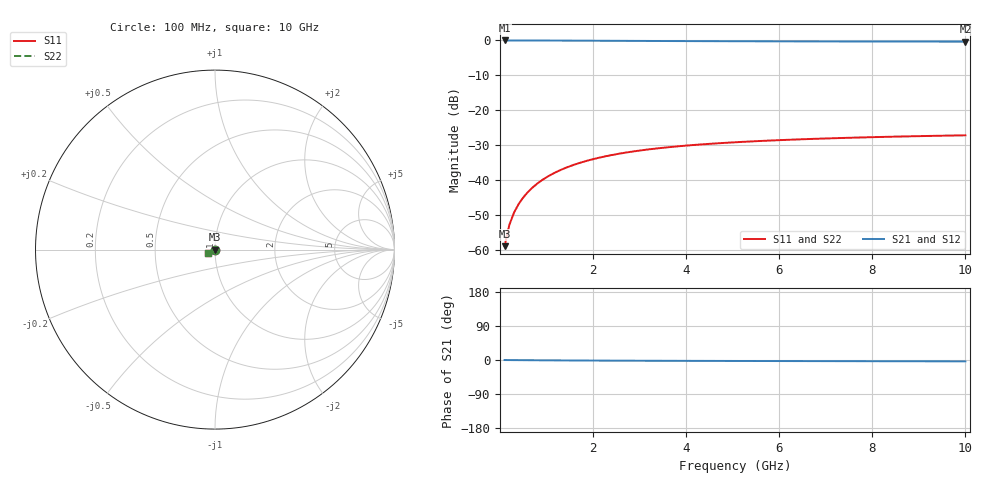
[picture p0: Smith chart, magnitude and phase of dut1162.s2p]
! Touchstone file exported from HFSS 2024.1.0
!  File:  C:/UserFiles/LocalFiles/RDL_TSV_Batchsim/temp_TSV1_1162_1780072904.aedt
!  Generated:  12:46:41 AM May 30, 2026
!  Design:  TSV1
!  Project:  temp_TSV1_1162_1780072904
!  Setup:  Setup1
!  Solution:  Sweep
! Variables:
!  dtsv = 13.69um
!  hbump = 3um
!  htsv = 50.86um
!  lrdl = 252.1521522um
!  p = 40
!  p1 = 41.66um
!  t = 500um
!  trdl = 3um
!  wrdl = 24.89489489um
# GHz S MA R 50.000000
! Terminal data exported
! Port[1] = TSV22_T1
! Port[2] = TSV22_T2
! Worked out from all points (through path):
!   100 points, 100 MHz to 10 GHz, reference 50 ohm
!   highest |S21| = 0.00 dB at 100 MHz (marker M1); lowest = -0.3 dB at 10 GHz (marker M2)
!   lowest |S11| = -58.9 dB at 100 MHz (marker M3), VSWR 1.00, Z = 50 - j0.113 ohm
!   |S11| at or under -10 dB: start of sweep to end of sweep
!   |S22| runs from -58.9 to -27.2 dB; largest |S21 - S12| = 2.3e-15
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0.1  0.001129 -87.9  0.9999 -0.1  0.9999 -0.1  0.001129 -87.9
! Gamma 0 0 0 0
! Port Impedance 50 0 50 0
0.2  0.002261 -91.4  0.9998 -0.2  0.9998 -0.2  0.002261 -91.4
0.3  0.003393 -93.4  0.9997 -0.3  0.9997 -0.3  0.003392 -93.4
0.4  0.004516 -95.1  0.9995 -0.4  0.9995 -0.4  0.004516 -95.1
0.5  0.00563 -96.7  0.9992 -0.4  0.9992 -0.4  0.00563 -96.7
0.6  0.00673 -98.2  0.9989 -0.5  0.9989 -0.5  0.00673 -98.2
0.7  0.007815 -99.7  0.9985 -0.6  0.9985 -0.6  0.007815 -99.7
0.8  0.008883 -101.1  0.9981 -0.7  0.9981 -0.7  0.008883 -101.1
0.9  0.009932 -102.5  0.9977 -0.8  0.9977 -0.8  0.009932 -102.5
1.1  0.01197 -105.3  0.9966 -0.9  0.9966 -0.9  0.01197 -105.3
1.4  0.01485 -109.1  0.9949 -1.1  0.9949 -1.1  0.01485 -109.1
1.6  0.01664 -111.5  0.9936 -1.3  0.9936 -1.3  0.01664 -111.5
1.8  0.01833 -113.8  0.9923 -1.4  0.9923 -1.4  0.01833 -113.8
2.1  0.02068 -117.0  0.9903 -1.6  0.9903 -1.6  0.02068 -117.0
2.5  0.02346 -120.9  0.9877 -1.7  0.9877 -1.7  0.02346 -120.9
2.9  0.0259 -124.3  0.9852 -1.9  0.9852 -1.9  0.0259 -124.3
3.4  0.02852 -128.1  0.9823 -2.1  0.9823 -2.1  0.02852 -128.1
4.2  0.03192 -133.0  0.9781 -2.3  0.9781 -2.3  0.03192 -133.0
5.1  0.03492 -137.3  0.9742 -2.6  0.9742 -2.6  0.03492 -137.3
6.7  0.03883 -143.0  0.9688 -2.9  0.9688 -2.9  0.03883 -143.0
8.4  0.04175 -147.2  0.9647 -3.3  0.9647 -3.3  0.04175 -147.2
10  0.04376 -150.3  0.9618 -3.6  0.9618 -3.6  0.04376 -150.3
